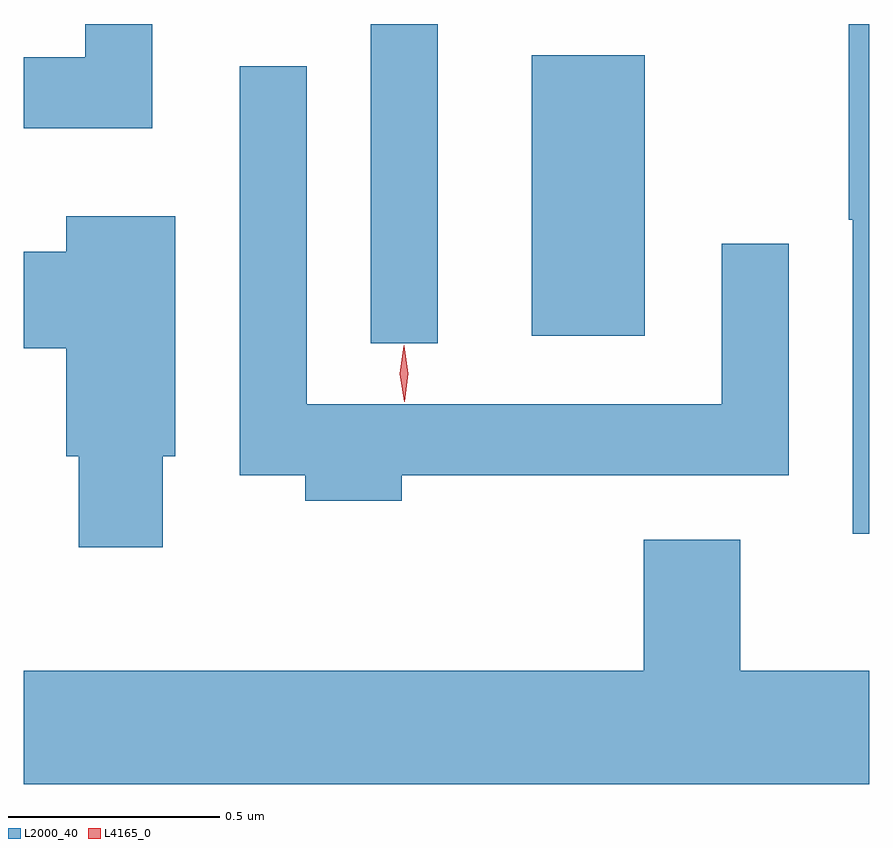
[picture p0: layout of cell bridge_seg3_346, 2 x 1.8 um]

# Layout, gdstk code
import gdstk
lib = gdstk.Library(unit=1e-6, precision=1e-09)
def R(c, l, rs):  # rectangles x0, y0, x1, y1
    for r in rs: c.add(gdstk.rectangle(r[:2], r[2:], *l))
def P(c, l, *ps):  # polygons
    for p in ps: c.add(gdstk.Polygon(p, *l))
L2000_40 = (2000, 40)
L4165_0 = (4165, 0)

bridge_seg3_346 = lib.new_cell('bridge_seg3_346')
R(bridge_seg3_346, L2000_40, [(571.556,1158.138,571.714,1158.893), (571.936,1158.156,572.204,1158.819)])
P(bridge_seg3_346, L2000_40, [(571.039,1158.893),(570.881,1158.893),(570.881,1158.814),(570.735,1158.814),(570.735,1158.646),(571.039,1158.646)],
  [(572.735,1158.893),(572.686,1158.893),(572.686,1158.43),(572.696,1158.43),(572.696,1157.688),(572.735,1157.688)],
  [(571.629,1157.826),(572.544,1157.826),(572.544,1158.373),(572.386,1158.373),(572.386,1157.994),(571.404,1157.994),(571.404,1158.793),(571.246,1158.793),(571.246,1157.826),(571.401,1157.826),(571.401,1157.766),(571.629,1157.766)],
  [(571.064,1157.871),(571.094,1157.871),(571.094,1158.439),(570.836,1158.439),(570.836,1158.354),(570.735,1158.354),(570.735,1158.126),(570.836,1158.126),(570.836,1157.871),(570.866,1157.871),(570.866,1157.656),(571.064,1157.656)],
  [(572.735,1157.364),(572.429,1157.364),(572.429,1157.674),(572.201,1157.674),(572.201,1157.364),(570.735,1157.364),(570.735,1157.096),(572.735,1157.096)])
P(bridge_seg3_346, L4165_0, [(571.635,1158),(571.635,1158),(571.625,1158.066),(571.634,1158.132),(571.635,1158.133),(571.635,1158.132),(571.645,1158.066),(571.636,1158)])

lib.write_gds('bridge_seg3_346.gds')
